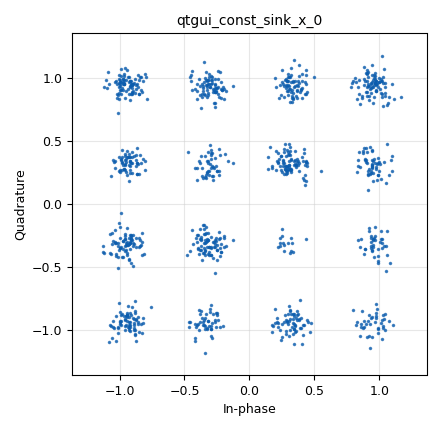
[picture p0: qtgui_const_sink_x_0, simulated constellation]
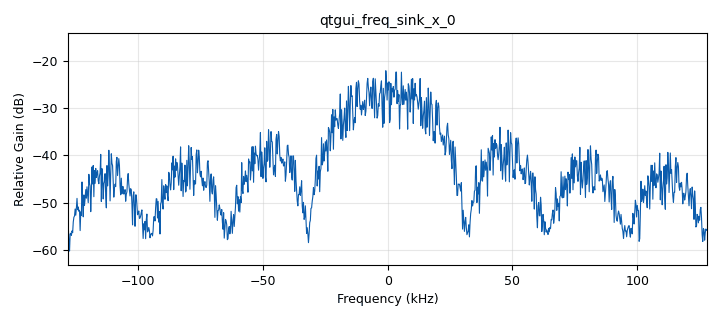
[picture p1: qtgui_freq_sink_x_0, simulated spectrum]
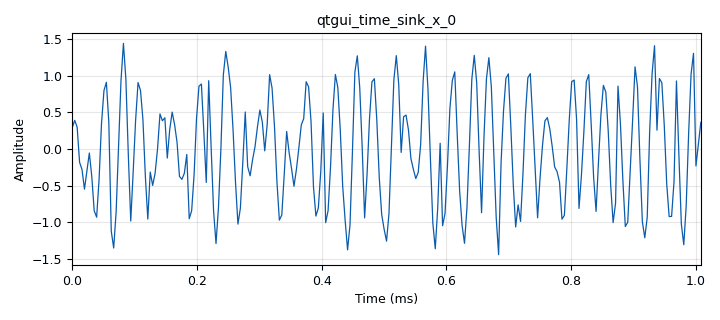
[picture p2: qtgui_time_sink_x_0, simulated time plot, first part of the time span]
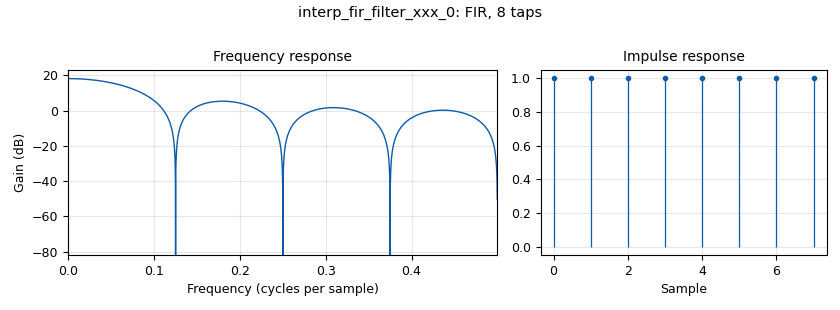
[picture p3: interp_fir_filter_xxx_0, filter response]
options:
  parameters:
    author: radiogis_director
    generate_options: qt_gui
    id: top_block
    output_language: python
    title: top_block
  states: {}

blocks:
- name: Fc
  id: variable
  parameters:
    value: Rs
  states: {}
- name: M
  id: variable
  parameters:
    value: len(tabla_de_verdad_constelacion )
  states: {}
- name: Rb
  id: variable
  parameters:
    value: Rs*bps
  states: {}
- name: Rs
  id: variable
  parameters:
    value: '32000'
  states: {}
- name: Sps
  id: variable
  parameters:
    value: '8'
  states: {}
- name: bps
  id: variable
  parameters:
    value: int(math.log(M,2))
  states: {}
- name: h
  id: variable
  parameters:
    value: '[1]*Sps'
  states: {}
- name: samp_rate
  id: variable
  parameters:
    value: Rs*Sps
  states: {}
- name: tabla_de_verdad_constelacion
  id: variable
  parameters:
    value: '[-0.9487+0.9487j, -0.3162+0.9487j, 0.3162+0.9487j, 0.9487+0.9487j,-0.9487+0.3162j, -0.3162+0.3162j, 0.3162+0.3162j, 0.9487+0.3162j,-0.9487-0.3162j, -0.3162-0.3162j, 0.3162-0.3162j, 0.9487-0.3162j, -0.9487-0.9487j, -0.3162-0.9487j, 0.3162-0.9487j, 0.9487-0.9487j]'
  states: {}
- name: analog_noise_source_x_0
  id: analog_noise_source_x
  parameters:
    amp: '0.1'
    noise_type: analog.GR_GAUSSIAN
    seed: '0'
    type: complex
  states: {}
- name: analog_random_source_x_0
  id: analog_random_source_x
  parameters:
    max: '2'
    min: '0'
    num_samps: '1000'
    repeat: 'True'
    type: byte
  states: {}
- name: analog_sig_source_x_0
  id: analog_sig_source_x
  parameters:
    amp: '1'
    freq: Rs*7
    offset: '0'
    phase: '0'
    samp_rate: samp_rate
    type: float
    waveform: analog.GR_COS_WAVE
  states: {}
- name: analog_sig_source_x_0_0
  id: analog_sig_source_x
  parameters:
    amp: '1'
    freq: Rs*7
    offset: '0'
    phase: '-math.pi/2'
    samp_rate: samp_rate
    type: float
    waveform: analog.GR_COS_WAVE
  states: {}
- name: blocks_add_xx_0
  id: blocks_add_xx
  parameters:
    type: complex
  states: {}
- name: blocks_add_xx_2
  id: blocks_add_xx
  parameters:
    type: float
  states: {}
- name: blocks_complex_to_float_0
  id: blocks_complex_to_float
  parameters: {}
  states: {}
- name: blocks_multiply_const_vxx_0
  id: blocks_multiply_const_vxx
  parameters:
    const: '1'
    type: complex
  states: {}
- name: blocks_multiply_const_vxx_1
  id: blocks_multiply_const_vxx
  parameters:
    const: '-1'
    type: float
  states: {}
- name: blocks_multiply_xx_0
  id: blocks_multiply_xx
  parameters:
    type: float
  states: {}
- name: blocks_multiply_xx_1
  id: blocks_multiply_xx
  parameters:
    type: float
  states: {}
- name: blocks_pack_k_bits_bb_0
  id: blocks_pack_k_bits_bb
  parameters:
    k: '8'
  states: {}
- name: blocks_packed_to_unpacked_xx_0
  id: blocks_packed_to_unpacked_xx
  parameters:
    bits_per_chunk: bps
    endianness: gr.GR_MSB_FIRST
    type: byte
  states: {}
- name: digital_chunks_to_symbols_xx_0
  id: digital_chunks_to_symbols_xx
  parameters:
    dimension: '1'
    in_type: byte
    out_type: complex
    symbol_table: tabla_de_verdad_constelacion
  states: {}
- name: import_0
  id: import
  parameters:
    imports: import math
  states: {}
- name: import_1
  id: import
  parameters:
    imports: from gnuradio.filter import window; import math; import numpy as np
  states: {}
- name: interp_fir_filter_xxx_0
  id: interp_fir_filter_xxx
  parameters:
    interp: Sps
    taps: h
    type: ccf
  states: {}
- name: qtgui_const_sink_x_0
  id: qtgui_const_sink_x
  parameters:
    autoscale: 'True'
    size: '1024'
    type: complex
  states: {}
- name: qtgui_freq_sink_x_0
  id: qtgui_freq_sink_x
  parameters:
    autoscale: 'True'
    average: '0.05'
    bw: samp_rate
    fc: '0'
    fftsize: '1024'
    type: complex
    wintype: window.WIN_HAMMING
  states: {}
- name: qtgui_time_sink_x_0
  id: qtgui_time_sink_x
  parameters:
    autoscale: 'True'
    size: '1024'
    srate: samp_rate
    type: float
  states: {}
- name: virtual_sink_0_0
  id: virtual_sink
  parameters:
    stream_id: p0
  states: {}
- name: virtual_source_0_0
  id: virtual_source
  parameters:
    stream_id: p0
  states: {}

connections:
- [analog_noise_source_x_0, '0', blocks_add_xx_0, '0']
- [analog_random_source_x_0, '0', blocks_pack_k_bits_bb_0, '0']
- [analog_sig_source_x_0, '0', blocks_multiply_xx_0, '1']
- [analog_sig_source_x_0_0, '0', blocks_multiply_xx_1, '0']
- [blocks_add_xx_0, '0', blocks_complex_to_float_0, '0']
- [blocks_add_xx_0, '0', virtual_sink_0_0, '0']
- [blocks_add_xx_2, '0', qtgui_time_sink_x_0, '0']
- [blocks_complex_to_float_0, '0', blocks_multiply_xx_0, '0']
- [blocks_complex_to_float_0, '1', blocks_multiply_xx_1, '1']
- [blocks_multiply_const_vxx_0, '0', interp_fir_filter_xxx_0, '0']
- [blocks_multiply_const_vxx_1, '0', blocks_add_xx_2, '1']
- [blocks_multiply_xx_0, '0', blocks_add_xx_2, '0']
- [blocks_multiply_xx_1, '0', blocks_multiply_const_vxx_1, '0']
- [blocks_pack_k_bits_bb_0, '0', blocks_packed_to_unpacked_xx_0, '0']
- [blocks_packed_to_unpacked_xx_0, '0', digital_chunks_to_symbols_xx_0, '0']
- [digital_chunks_to_symbols_xx_0, '0', blocks_multiply_const_vxx_0, '0']
- [interp_fir_filter_xxx_0, '0', blocks_add_xx_0, '1']
- [virtual_source_0_0, '0', qtgui_const_sink_x_0, '0']
- [virtual_source_0_0, '0', qtgui_freq_sink_x_0, '0']

metadata:
  file_format: 1
  grc_version: 3.10.12.0
